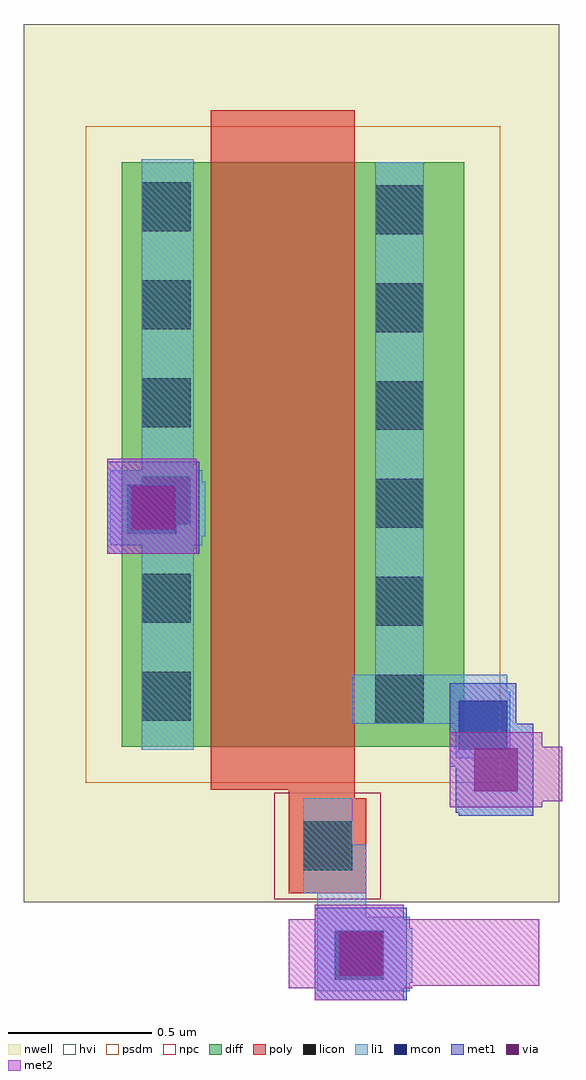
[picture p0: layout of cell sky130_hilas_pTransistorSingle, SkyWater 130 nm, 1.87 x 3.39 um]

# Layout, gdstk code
import gdstk
lib = gdstk.Library(unit=1e-6, precision=1e-09)
def R(c, l, rs):  # rectangles x0, y0, x1, y1
    for r in rs: c.add(gdstk.rectangle(r[:2], r[2:], *l))
def A(c, l, x, y, w, h, nx, ny, dx, dy):  # array of equal rectangles
    R(c, l, [(x+i*dx, y+j*dy, x+i*dx+w, y+j*dy+h) for i in range(nx) for j in range(ny)])
nwell = (64, 20)
diff = (65, 20)
poly = (66, 20)
licon = (66, 44)
li1 = (67, 20)
mcon = (67, 44)
met1 = (68, 20)
via = (68, 44)
met2 = (69, 20)
hvi = (75, 20)
psdm = (94, 20)
npc = (95, 20)

sky130_hilas_li2m2 = lib.new_cell('sky130_hilas_li2m2')
R(sky130_hilas_li2m2, li1, [(-0.13,-0.12,0.19,-0.09), (-0.13,-0.09,0.2,0.1), (-0.13,0.1,0.19,0.14)])
R(sky130_hilas_li2m2, mcon, [(-0.07,-0.08,0.1,0.09)])
R(sky130_hilas_li2m2, met1, [(-0.14,-0.15,0.18,0.17)])
R(sky130_hilas_li2m2, via, [(-0.055,-0.065,0.095,0.085)])
R(sky130_hilas_li2m2, met2, [(-0.14,-0.15,0.17,0.18)])

sky130_hilas_poly2li = lib.new_cell('sky130_hilas_poly2li')
R(sky130_hilas_poly2li, poly, [(-0.09,-0.14,0.18,0.19)])
R(sky130_hilas_poly2li, licon, [(-0.04,-0.06,0.13,0.11)])
R(sky130_hilas_poly2li, li1, [(-0.04,-0.14,0.13,0.19)])
R(sky130_hilas_poly2li, npc, [(-0.14,-0.16,0.23,0.21)])

sky130_hilas_li2m1 = lib.new_cell('sky130_hilas_li2m1')
R(sky130_hilas_li2m1, li1, [(-0.08,-0.05,0.11,0.18)])
R(sky130_hilas_li2m1, mcon, [(-0.07,-0.02,0.1,0.15)])
R(sky130_hilas_li2m1, met1, [(-0.1,-0.08,0.13,0.21)])

sky130_hilas_ptransistor = lib.new_cell('sky130_hilas_pTransistorVert01')
R(sky130_hilas_ptransistor, nwell, [(-3.63,-4.44,-1.77,-1.45)])
R(sky130_hilas_ptransistor, diff, [(-3.29,-3.96,-2.1,-1.93)])
R(sky130_hilas_ptransistor, poly, [(-2.98,-4.11,-2.48,-1.75)])
A(sky130_hilas_ptransistor, licon, -2.41, -3.88, 0.17, 0.17, 1, 6, 0, 0.34)
A(sky130_hilas_ptransistor, licon, -3.22, -3.87, 0.17, 0.17, 1, 6, 0, 0.34)
R(sky130_hilas_ptransistor, li1, [(-3.22,-3.97,-3.04,-1.92), (-2.49,-3.88,-2.16,-3.71), (-2.41,-3.71,-2.24,-1.93)])
R(sky130_hilas_ptransistor, hvi, [(-3.63,-4.44,-1.77,-1.45)])
R(sky130_hilas_ptransistor, psdm, [(-3.415,-4.085,-1.975,-1.805)])

sky130_hilas_m12m2 = lib.new_cell('sky130_hilas_m12m2')
R(sky130_hilas_m12m2, met1, [(-0.06,-0.1,0.2,0.22)])
R(sky130_hilas_m12m2, via, [(-0.005,-0.015,0.145,0.135)])
R(sky130_hilas_m12m2, met2, [(-0.09,-0.07,0.23,0.19)])

c_sky130_hilas_ptransistor = lib.new_cell('sky130_hilas_pTransistorSingle')
R(c_sky130_hilas_ptransistor, nwell, [(1.33,-1.4,3.19,-1.33)])
R(c_sky130_hilas_ptransistor, poly, [(2.25,-1.04,2.48,-1)])
R(c_sky130_hilas_ptransistor, li1, [(2.35,-1.46,2.52,-1.33), (2.47,-1.33,2.52,-1.2), (2.79,-0.78,2.87,-0.7), (2.79,-0.7,3.01,-0.61)])
R(c_sky130_hilas_ptransistor, met1, [(2.83,-1.09,3.04,-0.88)])
R(c_sky130_hilas_ptransistor, met2, [(2.25,-1.7,2.68,-1.69), (2.25,-1.69,3.12,-1.46), (3.06,-1.05,3.2,-0.86)])
R(c_sky130_hilas_ptransistor, hvi, [(1.33,-1.4,3.19,-1.34)])
c_sky130_hilas_ptransistor.add(gdstk.Reference(sky130_hilas_li2m2, (2.48,-1.59)))
c_sky130_hilas_ptransistor.add(gdstk.Reference(sky130_hilas_li2m2, (1.76,-0.04)))
c_sky130_hilas_ptransistor.add(gdstk.Reference(sky130_hilas_poly2li, (2.34,-1.23)))
c_sky130_hilas_ptransistor.add(gdstk.Reference(sky130_hilas_li2m1, (2.91,-0.85)))
c_sky130_hilas_ptransistor.add(gdstk.Reference(sky130_hilas_ptransistor, (4.96,3.1)))
c_sky130_hilas_ptransistor.add(gdstk.Reference(sky130_hilas_m12m2, (2.9,-1)))

lib.write_gds('sky130_hilas_pTransistorSingle.gds')
